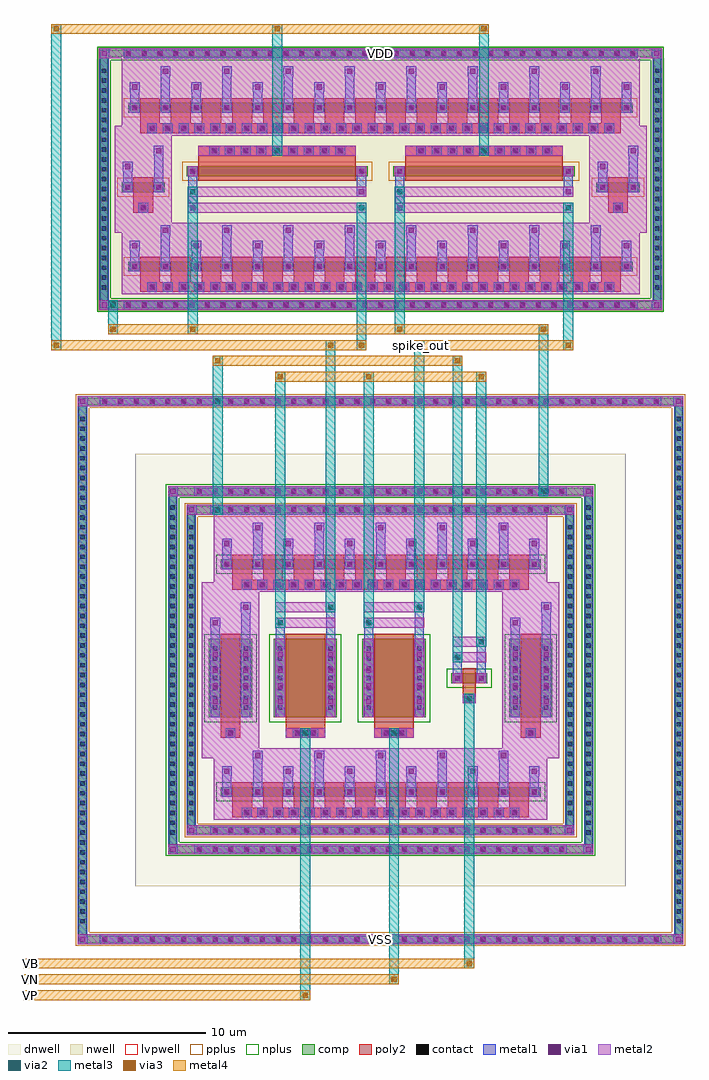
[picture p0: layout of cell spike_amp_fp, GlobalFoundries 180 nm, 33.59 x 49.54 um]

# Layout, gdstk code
import gdstk
lib = gdstk.Library(unit=1e-6, precision=5e-09)
def R(c, l, rs):  # rectangles x0, y0, x1, y1
    for r in rs: c.add(gdstk.rectangle(r[:2], r[2:], *l))
def A(c, l, x, y, w, h, nx, ny, dx, dy):  # array of equal rectangles
    R(c, l, [(x+i*dx, y+j*dy, x+i*dx+w, y+j*dy+h) for i in range(nx) for j in range(ny)])
def P(c, l, *ps):  # polygons
    for p in ps: c.add(gdstk.Polygon(p, *l))
dnwell = (12, 0)
nwell = (21, 0)
comp = (22, 0)
poly2 = (30, 0)
pplus = (31, 0)
nplus = (32, 0)
contact = (33, 0)
metal1 = (34, 0)
via1 = (35, 0)
metal2 = (36, 0)
via2 = (38, 0)
via3 = (40, 0)
metal3 = (42, 0)
metal4 = (46, 0)
lvpwell = (204, 0)

spike_amp_fp = lib.new_cell('spike_amp_fp')
R(spike_amp_fp, dnwell, [(-6.68,-10.975,18.22,10.975)])
R(spike_amp_fp, nwell, [(-8.57,18.235,20.11,31.605), (-7.38,19.075,18.92,22.705), (-7.73,23.105,-4.83,26.735), (-4.43,23.105,5.47,26.735), (6.07,23.105,15.97,26.735), (16.37,23.105,19.27,26.735), (-7.38,27.135,18.92,30.765)])
A(spike_amp_fp, comp, -8.41, -13.835, 0.36, 0.36, 36, 2, 0.8, 27.31)
A(spike_amp_fp, comp, -9.54, -12.93, 0.36, 0.36, 1, 52, 0, 0.5)
A(spike_amp_fp, comp, 20.72, -12.93, 0.36, 0.36, 1, 52, 0, 0.5)
A(spike_amp_fp, comp, -3.61, -9.265, 0.36, 0.36, 24, 2, 0.8, 18.17)
A(spike_amp_fp, comp, -4.97, -8.43, 0.36, 0.36, 1, 34, 0, 0.5)
A(spike_amp_fp, comp, 16.15, -8.43, 0.36, 0.36, 1, 34, 0, 0.5)
A(spike_amp_fp, comp, -2.81, -8.315, 0.36, 0.36, 22, 2, 0.8, 16.27)
A(spike_amp_fp, comp, -4.02, -7.43, 0.36, 0.36, 1, 30, 0, 0.5)
A(spike_amp_fp, comp, 15.2, -7.43, 0.36, 0.36, 1, 30, 0, 0.5)
A(spike_amp_fp, comp, -7.21, 18.355, 0.36, 0.36, 33, 2, 0.8, 12.77)
A(spike_amp_fp, comp, -8.45, 19.24, 0.36, 0.36, 1, 23, 0, 0.5)
A(spike_amp_fp, comp, 19.63, 19.24, 0.36, 0.36, 1, 23, 0, 0.5)
R(spike_amp_fp, comp, [(-8.41,-13.835,19.95,-13.475), (-9.54,-12.93,-9.18,12.93), (20.72,-12.93,21.08,12.93), (-3.61,-9.265,15.15,-8.905), (-4.97,-8.43,-4.61,8.43), (16.15,-8.43,16.51,8.43), (-2.81,-8.315,14.35,-7.955), (-4.02,-7.43,-3.66,7.43), (15.2,-7.43,15.56,7.43), (-2.35,-6.435,13.89,-5.935), (-2.95,-2.405,-0.75,1.595), (0.35,-2.405,3.55,1.595), (4.85,-2.405,8.05,1.595), (12.29,-2.405,14.49,1.595), (9.35,-0.655,11.19,-0.155), (-2.35,5.125,13.89,5.625), (-2.81,7.955,14.35,8.315), (-3.61,8.905,15.15,9.265), (-8.41,13.475,19.95,13.835), (-7.21,18.355,18.75,18.715), (-8.45,19.24,-8.09,30.6), (19.63,19.24,19.99,30.6), (-7.03,20.235,18.57,20.735), (-7.38,24.265,-5.18,24.765), (16.72,24.265,18.92,24.765), (-4.08,25.075,5.12,25.575), (6.42,25.075,15.62,25.575), (-7.03,28.295,18.57,28.795), (-7.21,31.125,18.75,31.485)])
P(spike_amp_fp, comp, [(19.99,31.485),(-8.45,31.485),(-8.45,18.715),(-8.09,18.715),(-8.09,31.125),(19.63,31.125),(19.63,18.715),(-8.09,18.715),(-8.45,18.715),(-8.45,18.355),(19.99,18.355)],
  [(15.56,8.315),(-4.02,8.315),(-4.02,-7.955),(-3.66,-7.955),(-3.66,7.955),(15.2,7.955),(15.2,-7.955),(-3.66,-7.955),(-4.02,-7.955),(-4.02,-8.315),(15.56,-8.315)],
  [(16.51,9.265),(-4.97,9.265),(-4.97,-8.905),(-4.61,-8.905),(-4.61,8.905),(16.15,8.905),(16.15,-8.905),(-4.61,-8.905),(-4.97,-8.905),(-4.97,-9.265),(16.51,-9.265)],
  [(21.08,13.835),(-9.54,13.835),(-9.54,-13.475),(-9.18,-13.475),(-9.18,13.475),(20.72,13.475),(20.72,-13.475),(-9.18,-13.475),(-9.54,-13.475),(-9.54,-13.835),(21.08,-13.835)])
A(spike_amp_fp, poly2, -1.21, -7.405, 0.36, 0.36, 18, 2, 0.8, 11.56)
A(spike_amp_fp, poly2, -1.75, -6.975, 1, 0.3, 10, 2, 1.56, 11.56)
A(spike_amp_fp, poly2, -1.75, -6.675, 1, 0.98, 10, 2, 1.56, 11.56)
A(spike_amp_fp, poly2, -6.01, 19.265, 0.36, 0.36, 30, 2, 0.8, 8.06)
A(spike_amp_fp, poly2, -6.43, 19.695, 1, 0.3, 16, 2, 1.56, 8.06)
A(spike_amp_fp, poly2, -6.43, 19.995, 1, 0.98, 16, 2, 1.56, 8.06)
A(spike_amp_fp, poly2, -2.86, 26.185, 0.36, 0.36, 9, 1, 0.8, 0)
A(spike_amp_fp, poly2, 7.64, 26.185, 0.36, 0.36, 9, 1, 0.8, 0)
R(spike_amp_fp, poly2, [(-1.75,-7.475,13.29,-6.975), (-2.35,-3.445,-1.35,-2.945), (0.95,-3.445,2.95,-2.945), (5.45,-3.445,7.45,-2.945), (12.89,-3.445,13.89,-2.945), (-2.03,-3.375,-1.67,-3.015), (1.37,-3.375,1.73,-3.015), (2.17,-3.375,2.53,-3.015), (5.87,-3.375,6.23,-3.015), (6.67,-3.375,7.03,-3.015), (13.21,-3.375,13.57,-3.015), (-2.35,-2.945,-1.35,-2.645), (0.95,-2.945,2.95,-2.645), (5.45,-2.945,7.45,-2.645), (12.89,-2.945,13.89,-2.645), (-2.35,-2.645,-1.35,1.835), (0.95,-2.645,2.95,1.835), (5.45,-2.645,7.45,1.835), (12.89,-2.645,13.89,1.835), (9.95,-1.695,10.59,-1.195), (10.09,-1.625,10.45,-1.265), (9.95,-1.195,10.59,-0.895), (9.95,-0.895,10.59,0.085), (-1.75,4.085,13.29,4.585), (-6.43,19.195,17.97,19.695), (-6.78,23.225,-5.78,23.725), (17.32,23.225,18.32,23.725), (-6.46,23.295,-6.1,23.655), (17.64,23.295,18,23.655), (-6.78,23.725,-5.78,24.025), (17.32,23.725,18.32,24.025), (-6.78,24.025,-5.78,25.005), (17.32,24.025,18.32,25.005), (-3.48,24.835,4.52,25.815), (7.02,24.835,15.02,25.815), (-3.48,25.815,4.52,26.115), (7.02,25.815,15.02,26.115), (-3.48,26.115,4.52,26.615), (7.02,26.115,15.02,26.615), (-6.43,27.255,17.97,27.755)])
R(spike_amp_fp, pplus, [(-7.26,20.005,18.8,20.965), (-7.61,24.035,-4.95,24.995), (16.49,24.035,19.15,24.995), (-4.31,24.845,5.35,25.805), (6.19,24.845,15.85,25.805), (-7.26,28.065,18.8,29.025)])
P(spike_amp_fp, pplus, [(15.72,8.475),(-4.18,8.475),(-4.18,-7.795),(-3.5,-7.795),(-3.5,7.795),(15.04,7.795),(15.04,-7.795),(-3.5,-7.795),(-4.18,-7.795),(-4.18,-8.475),(15.72,-8.475)],
  [(21.24,13.995),(-9.7,13.995),(-9.7,-13.315),(-9.02,-13.315),(-9.02,13.315),(20.56,13.315),(20.56,-13.315),(-9.02,-13.315),(-9.7,-13.315),(-9.7,-13.995),(21.24,-13.995)])
R(spike_amp_fp, nplus, [(-2.58,-6.665,14.12,-5.705), (-3.18,-2.635,-0.52,1.825), (0.12,-2.635,3.78,1.825), (4.62,-2.635,8.28,1.825), (12.06,-2.635,14.72,1.825), (9.12,-0.885,11.42,0.075), (-2.58,4.895,14.12,5.855)])
P(spike_amp_fp, nplus, [(20.15,31.645),(-8.61,31.645),(-8.61,18.875),(-7.93,18.875),(-7.93,30.965),(19.47,30.965),(19.47,18.875),(-7.93,18.875),(-8.61,18.875),(-8.61,18.195),(20.15,18.195)],
  [(16.67,9.425),(-5.13,9.425),(-5.13,-8.745),(-4.45,-8.745),(-4.45,8.745),(15.99,8.745),(15.99,-8.745),(-4.45,-8.745),(-5.13,-8.745),(-5.13,-9.425),(16.67,-9.425)])
A(spike_amp_fp, contact, -8.34, -13.765, 0.22, 0.22, 36, 2, 0.8, 27.31)
A(spike_amp_fp, contact, -9.47, -12.86, 0.22, 0.22, 1, 52, 0, 0.5)
A(spike_amp_fp, contact, 20.79, -12.86, 0.22, 0.22, 1, 52, 0, 0.5)
A(spike_amp_fp, contact, -3.54, -9.195, 0.22, 0.22, 24, 2, 0.8, 18.17)
A(spike_amp_fp, contact, -4.9, -8.36, 0.22, 0.22, 1, 34, 0, 0.5)
A(spike_amp_fp, contact, 16.22, -8.36, 0.22, 0.22, 1, 34, 0, 0.5)
A(spike_amp_fp, contact, -2.74, -8.245, 0.22, 0.22, 22, 2, 0.8, 16.27)
A(spike_amp_fp, contact, -3.95, -7.36, 0.22, 0.22, 1, 30, 0, 0.5)
A(spike_amp_fp, contact, 15.27, -7.36, 0.22, 0.22, 1, 30, 0, 0.5)
A(spike_amp_fp, contact, -1.14, -7.335, 0.22, 0.22, 18, 2, 0.8, 11.56)
A(spike_amp_fp, contact, -2.14, -6.295, 0.22, 0.22, 11, 2, 1.56, 11.56)
A(spike_amp_fp, contact, -2.74, -2.015, 0.22, 0.22, 1, 7, 0, 0.5)
A(spike_amp_fp, contact, -1.18, -2.015, 0.22, 0.22, 1, 7, 0, 0.5)
A(spike_amp_fp, contact, 0.56, -2.015, 0.22, 0.22, 1, 7, 0, 0.5)
A(spike_amp_fp, contact, 3.12, -2.015, 0.22, 0.22, 1, 7, 0, 0.5)
A(spike_amp_fp, contact, 5.06, -2.015, 0.22, 0.22, 1, 7, 0, 0.5)
A(spike_amp_fp, contact, 7.62, -2.015, 0.22, 0.22, 1, 7, 0, 0.5)
A(spike_amp_fp, contact, 12.5, -2.015, 0.22, 0.22, 1, 7, 0, 0.5)
A(spike_amp_fp, contact, 14.06, -2.015, 0.22, 0.22, 1, 7, 0, 0.5)
A(spike_amp_fp, contact, -7.14, 18.425, 0.22, 0.22, 33, 2, 0.8, 12.77)
A(spike_amp_fp, contact, -8.38, 19.31, 0.22, 0.22, 1, 23, 0, 0.5)
A(spike_amp_fp, contact, 19.7, 19.31, 0.22, 0.22, 1, 23, 0, 0.5)
A(spike_amp_fp, contact, -5.94, 19.335, 0.22, 0.22, 30, 2, 0.8, 8.06)
A(spike_amp_fp, contact, -6.82, 20.375, 0.22, 0.22, 17, 2, 1.56, 8.06)
A(spike_amp_fp, contact, -2.79, 26.255, 0.22, 0.22, 9, 1, 0.8, 0)
A(spike_amp_fp, contact, 7.71, 26.255, 0.22, 0.22, 9, 1, 0.8, 0)
R(spike_amp_fp, contact, [(-1.96,-3.305,-1.74,-3.085), (1.44,-3.305,1.66,-3.085), (2.24,-3.305,2.46,-3.085), (5.94,-3.305,6.16,-3.085), (6.74,-3.305,6.96,-3.085), (13.28,-3.305,13.5,-3.085), (10.16,-1.555,10.38,-1.335), (9.56,-0.515,9.78,-0.295), (10.76,-0.515,10.98,-0.295), (-6.39,23.365,-6.17,23.585), (17.71,23.365,17.93,23.585), (-7.17,24.405,-6.95,24.625), (-5.61,24.405,-5.39,24.625), (16.93,24.405,17.15,24.625), (18.49,24.405,18.71,24.625), (-3.87,25.215,-3.65,25.435), (4.69,25.215,4.91,25.435), (6.63,25.215,6.85,25.435), (15.19,25.215,15.41,25.435)])
A(spike_amp_fp, metal1, -8.48, -13.905, 0.5, 0.5, 36, 2, 0.8, 27.31)
A(spike_amp_fp, metal1, -9.59, -12.98, 0.46, 0.46, 1, 52, 0, 0.5)
A(spike_amp_fp, metal1, 20.67, -12.98, 0.46, 0.46, 1, 52, 0, 0.5)
A(spike_amp_fp, metal1, -3.68, -9.335, 0.5, 0.5, 24, 2, 0.8, 18.17)
A(spike_amp_fp, metal1, -5.02, -8.48, 0.46, 0.46, 1, 34, 0, 0.5)
A(spike_amp_fp, metal1, 16.1, -8.48, 0.46, 0.46, 1, 34, 0, 0.5)
A(spike_amp_fp, metal1, -2.88, -8.385, 0.5, 0.5, 22, 2, 0.8, 16.27)
A(spike_amp_fp, metal1, -4.07, -7.48, 0.46, 0.46, 1, 30, 0, 0.5)
A(spike_amp_fp, metal1, 15.15, -7.48, 0.46, 0.46, 1, 30, 0, 0.5)
A(spike_amp_fp, metal1, -1.28, -7.475, 0.5, 0.5, 18, 2, 0.8, 11.56)
A(spike_amp_fp, metal1, -2.26, -6.435, 0.46, 0.5, 11, 2, 1.56, 11.56)
A(spike_amp_fp, metal1, -2.26, -6.415, 0.46, 0.46, 11, 2, 1.56, 11.56)
A(spike_amp_fp, metal1, -2.26, -5.935, 0.46, 1.05, 6, 2, 3.12, 11.56)
A(spike_amp_fp, metal1, -0.7, -5.935, 0.46, 1.85, 5, 2, 3.12, 11.56)
A(spike_amp_fp, metal1, -2.28, -5.385, 0.5, 0.5, 6, 2, 3.12, 11.56)
A(spike_amp_fp, metal1, -0.72, -4.585, 0.5, 0.5, 5, 2, 3.12, 11.56)
A(spike_amp_fp, metal1, -2.86, -2.135, 0.46, 0.46, 1, 7, 0, 0.5)
A(spike_amp_fp, metal1, -1.3, -2.135, 0.46, 0.46, 1, 7, 0, 0.5)
A(spike_amp_fp, metal1, 0.44, -2.135, 0.46, 0.46, 1, 7, 0, 0.5)
A(spike_amp_fp, metal1, 3, -2.135, 0.46, 0.46, 1, 7, 0, 0.5)
A(spike_amp_fp, metal1, 4.94, -2.135, 0.46, 0.46, 1, 7, 0, 0.5)
A(spike_amp_fp, metal1, 7.5, -2.135, 0.46, 0.46, 1, 7, 0, 0.5)
A(spike_amp_fp, metal1, 12.38, -2.135, 0.46, 0.46, 1, 7, 0, 0.5)
A(spike_amp_fp, metal1, 13.94, -2.135, 0.46, 0.46, 1, 7, 0, 0.5)
A(spike_amp_fp, metal1, -2.88, -1.855, 0.5, 0.5, 1, 4, 0, 0.8)
A(spike_amp_fp, metal1, -1.32, -1.855, 0.5, 0.5, 1, 4, 0, 0.8)
A(spike_amp_fp, metal1, 0.42, -1.855, 0.5, 0.5, 1, 4, 0, 0.8)
A(spike_amp_fp, metal1, 2.98, -1.855, 0.5, 0.5, 1, 4, 0, 0.8)
A(spike_amp_fp, metal1, 4.92, -1.855, 0.5, 0.5, 1, 4, 0, 0.8)
A(spike_amp_fp, metal1, 7.48, -1.855, 0.5, 0.5, 1, 4, 0, 0.8)
A(spike_amp_fp, metal1, 12.36, -1.855, 0.5, 0.5, 1, 4, 0, 0.8)
A(spike_amp_fp, metal1, 13.92, -1.855, 0.5, 0.5, 1, 4, 0, 0.8)
A(spike_amp_fp, metal1, -7.28, 18.285, 0.5, 0.5, 33, 2, 0.8, 12.77)
A(spike_amp_fp, metal1, -8.5, 19.19, 0.46, 0.46, 1, 23, 0, 0.5)
A(spike_amp_fp, metal1, 19.58, 19.19, 0.46, 0.46, 1, 23, 0, 0.5)
A(spike_amp_fp, metal1, -6.08, 19.195, 0.5, 0.5, 30, 2, 0.8, 8.06)
A(spike_amp_fp, metal1, -6.94, 20.235, 0.46, 0.5, 17, 2, 1.56, 8.06)
A(spike_amp_fp, metal1, -6.94, 20.255, 0.46, 0.46, 17, 2, 1.56, 8.06)
A(spike_amp_fp, metal1, -6.94, 20.735, 0.46, 1.05, 9, 2, 3.12, 8.06)
A(spike_amp_fp, metal1, -5.38, 20.735, 0.46, 1.85, 8, 2, 3.12, 8.06)
A(spike_amp_fp, metal1, -6.96, 21.285, 0.5, 0.5, 9, 2, 3.12, 8.06)
A(spike_amp_fp, metal1, -5.4, 22.085, 0.5, 0.5, 8, 2, 3.12, 8.06)
A(spike_amp_fp, metal1, -2.93, 26.115, 0.5, 0.5, 9, 1, 0.8, 0)
A(spike_amp_fp, metal1, 7.57, 26.115, 0.5, 0.5, 9, 1, 0.8, 0)
R(spike_amp_fp, metal1, [(-9.59,-13.905,-9.09,-13.405), (-9.59,-13.905,-9.09,-13.405), (-9.59,-13.905,-9.13,-13.475), (-8.48,-13.905,20.02,-13.405), (20.63,-13.905,21.13,-13.405), (20.63,-13.905,21.13,-13.405), (20.67,-13.905,21.13,-13.475), (-9.59,-13.475,-9.13,13.475), (20.67,-13.475,21.13,13.475), (-5.02,-9.335,-4.52,-8.835), (-5.02,-9.335,-4.52,-8.835), (-5.02,-9.335,-4.56,-8.905), (-3.68,-9.335,15.22,-8.835), (16.06,-9.335,16.56,-8.835), (16.06,-9.335,16.56,-8.835), (16.1,-9.335,16.56,-8.905), (-5.02,-8.905,-4.56,8.905), (16.1,-8.905,16.56,8.905), (-4.07,-8.385,-3.57,-7.885), (-4.07,-8.385,-3.57,-7.885), (-4.07,-8.385,-3.61,-7.955), (-2.88,-8.385,14.42,-7.885), (15.11,-8.385,15.61,-7.885), (15.11,-8.385,15.61,-7.885), (15.15,-8.385,15.61,-7.955), (-4.07,-7.955,-3.61,7.955), (15.15,-7.955,15.61,7.955), (-2.28,-6.435,-1.78,-5.935), (-2.28,-6.435,-1.78,-5.935), (-0.72,-6.435,-0.22,-5.935), (-0.72,-6.435,-0.22,-5.935), (0.84,-6.435,1.34,-5.935), (0.84,-6.435,1.34,-5.935), (2.4,-6.435,2.9,-5.935), (2.4,-6.435,2.9,-5.935), (3.96,-6.435,4.46,-5.935), (3.96,-6.435,4.46,-5.935), (5.52,-6.435,6.02,-5.935), (5.52,-6.435,6.02,-5.935), (7.08,-6.435,7.58,-5.935), (7.08,-6.435,7.58,-5.935), (8.64,-6.435,9.14,-5.935), (8.64,-6.435,9.14,-5.935), (10.2,-6.435,10.7,-5.935), (10.2,-6.435,10.7,-5.935), (11.76,-6.435,12.26,-5.935), (11.76,-6.435,12.26,-5.935), (13.32,-6.435,13.82,-5.935), (13.32,-6.435,13.82,-5.935), (-2.1,-3.445,-1.6,-2.945), (1.3,-3.445,1.8,-2.945), (2.1,-3.445,2.6,-2.945), (5.8,-3.445,6.3,-2.945), (6.6,-3.445,7.1,-2.945), (13.14,-3.445,13.64,-2.945), (-2.86,-2.405,-2.4,1.595), (-1.3,-2.405,-0.84,1.595), (0.44,-2.405,0.9,1.595), (3,-2.405,3.46,1.595), (4.94,-2.405,5.4,1.595), (7.5,-2.405,7.96,1.595), (12.38,-2.405,12.84,1.595), (13.94,-2.405,14.4,1.595), (-2.88,-1.855,-2.38,1.045), (-1.32,-1.855,-0.82,1.045), (0.42,-1.855,0.92,1.045), (2.98,-1.855,3.48,1.045), (4.92,-1.855,5.42,1.045), (7.48,-1.855,7.98,1.045), (12.36,-1.855,12.86,1.045), (13.92,-1.855,14.42,1.045), (10.02,-1.695,10.52,-1.195), (9.42,-0.655,9.92,-0.155), (9.42,-0.655,9.92,-0.155), (9.44,-0.655,9.9,-0.155), (10.62,-0.655,11.12,-0.155), (10.62,-0.655,11.12,-0.155), (10.64,-0.655,11.1,-0.155), (9.44,-0.635,9.9,-0.175), (10.64,-0.635,11.1,-0.175), (9.44,-0.155,9.9,0.895), (10.64,-0.155,11.1,1.695), (9.42,0.395,9.92,0.895), (10.62,1.195,11.12,1.695), (-2.86,1.595,-2.4,2.645), (-1.3,1.595,-0.84,3.445), (0.44,1.595,0.9,2.645), (3,1.595,3.46,3.445), (4.94,1.595,5.4,2.645), (7.5,1.595,7.96,3.445), (12.38,1.595,12.84,2.645), (13.94,1.595,14.4,3.445), (-2.88,2.145,-2.38,2.645), (0.42,2.145,0.92,2.645), (4.92,2.145,5.42,2.645), (12.36,2.145,12.86,2.645), (-1.32,2.945,-0.82,3.445), (2.98,2.945,3.48,3.445), (7.48,2.945,7.98,3.445), (13.92,2.945,14.42,3.445), (-2.28,5.125,-1.78,5.625), (-2.28,5.125,-1.78,5.625), (-0.72,5.125,-0.22,5.625), (-0.72,5.125,-0.22,5.625), (0.84,5.125,1.34,5.625), (0.84,5.125,1.34,5.625), (2.4,5.125,2.9,5.625), (2.4,5.125,2.9,5.625), (3.96,5.125,4.46,5.625), (3.96,5.125,4.46,5.625), (5.52,5.125,6.02,5.625), (5.52,5.125,6.02,5.625), (7.08,5.125,7.58,5.625), (7.08,5.125,7.58,5.625), (8.64,5.125,9.14,5.625), (8.64,5.125,9.14,5.625), (10.2,5.125,10.7,5.625), (10.2,5.125,10.7,5.625), (11.76,5.125,12.26,5.625), (11.76,5.125,12.26,5.625), (13.32,5.125,13.82,5.625), (13.32,5.125,13.82,5.625), (-4.07,7.885,-3.57,8.385), (-4.07,7.885,-3.57,8.385), (-2.88,7.885,14.42,8.385), (15.11,7.885,15.61,8.385), (15.11,7.885,15.61,8.385), (-4.07,7.955,-3.61,8.385), (15.15,7.955,15.61,8.385), (-5.02,8.835,-4.52,9.335), (-5.02,8.835,-4.52,9.335), (-3.68,8.835,15.22,9.335), (16.06,8.835,16.56,9.335), (16.06,8.835,16.56,9.335), (-5.02,8.905,-4.56,9.335), (16.1,8.905,16.56,9.335), (-9.59,13.405,-9.09,13.905), (-9.59,13.405,-9.09,13.905), (-8.48,13.405,20.02,13.905), (20.63,13.405,21.13,13.905), (20.63,13.405,21.13,13.905), (-9.59,13.475,-9.13,13.905), (20.67,13.475,21.13,13.905), (-8.5,18.285,-8,18.785), (-8.5,18.285,-8,18.785), (-8.5,18.285,-8.04,18.715), (-7.28,18.285,18.82,18.785), (19.54,18.285,20.04,18.785), (19.54,18.285,20.04,18.785), (19.58,18.285,20.04,18.715), (-8.5,18.715,-8.04,31.125), (19.58,18.715,20.04,31.125), (-6.96,20.235,-6.46,20.735), (-6.96,20.235,-6.46,20.735), (-5.4,20.235,-4.9,20.735), (-5.4,20.235,-4.9,20.735), (-3.84,20.235,-3.34,20.735), (-3.84,20.235,-3.34,20.735), (-2.28,20.235,-1.78,20.735), (-2.28,20.235,-1.78,20.735), (-0.72,20.235,-0.22,20.735), (-0.72,20.235,-0.22,20.735), (0.84,20.235,1.34,20.735), (0.84,20.235,1.34,20.735), (2.4,20.235,2.9,20.735), (2.4,20.235,2.9,20.735), (3.96,20.235,4.46,20.735), (3.96,20.235,4.46,20.735), (5.52,20.235,6.02,20.735), (5.52,20.235,6.02,20.735), (7.08,20.235,7.58,20.735), (7.08,20.235,7.58,20.735), (8.64,20.235,9.14,20.735), (8.64,20.235,9.14,20.735), (10.2,20.235,10.7,20.735), (10.2,20.235,10.7,20.735), (11.76,20.235,12.26,20.735), (11.76,20.235,12.26,20.735), (13.32,20.235,13.82,20.735), (13.32,20.235,13.82,20.735), (14.88,20.235,15.38,20.735), (14.88,20.235,15.38,20.735), (16.44,20.235,16.94,20.735), (16.44,20.235,16.94,20.735), (18,20.235,18.5,20.735), (18,20.235,18.5,20.735), (-6.53,23.225,-6.03,23.725), (-4.01,23.225,-3.51,23.725), (-3.99,23.225,-3.53,25.075), (6.49,23.225,6.99,23.725), (6.51,23.225,6.97,25.075), (17.57,23.225,18.07,23.725), (4.55,24.025,5.05,24.525), (4.57,24.025,5.03,25.075), (15.05,24.025,15.55,24.525), (15.07,24.025,15.53,25.075), (-7.31,24.265,-6.81,24.765), (-7.31,24.265,-6.81,24.765), (-7.29,24.265,-6.83,24.765), (-5.75,24.265,-5.25,24.765), (-5.75,24.265,-5.25,24.765), (-5.73,24.265,-5.27,24.765), (16.79,24.265,17.29,24.765), (16.79,24.265,17.29,24.765), (16.81,24.265,17.27,24.765), (18.35,24.265,18.85,24.765), (18.35,24.265,18.85,24.765), (18.37,24.265,18.83,24.765), (-7.29,24.285,-6.83,24.745), (-5.73,24.285,-5.27,24.745), (16.81,24.285,17.27,24.745), (18.37,24.285,18.83,24.745), (-7.29,24.765,-6.83,25.815), (-5.73,24.765,-5.27,26.615), (16.81,24.765,17.27,25.815), (18.37,24.765,18.83,26.615), (-4.01,25.075,-3.51,25.575), (-4.01,25.075,-3.51,25.575), (-3.99,25.075,-3.53,25.575), (4.55,25.075,5.05,25.575), (4.55,25.075,5.05,25.575), (4.57,25.075,5.03,25.575), (6.49,25.075,6.99,25.575), (6.49,25.075,6.99,25.575), (6.51,25.075,6.97,25.575), (15.05,25.075,15.55,25.575), (15.05,25.075,15.55,25.575), (15.07,25.075,15.53,25.575), (-3.99,25.095,-3.53,25.555), (4.57,25.095,5.03,25.555), (6.51,25.095,6.97,25.555), (15.07,25.095,15.53,25.555), (-7.31,25.315,-6.81,25.815), (16.79,25.315,17.29,25.815), (-5.75,26.115,-5.25,26.615), (18.35,26.115,18.85,26.615), (-6.96,28.295,-6.46,28.795), (-6.96,28.295,-6.46,28.795), (-5.4,28.295,-4.9,28.795), (-5.4,28.295,-4.9,28.795), (-3.84,28.295,-3.34,28.795), (-3.84,28.295,-3.34,28.795), (-2.28,28.295,-1.78,28.795), (-2.28,28.295,-1.78,28.795), (-0.72,28.295,-0.22,28.795), (-0.72,28.295,-0.22,28.795), (0.84,28.295,1.34,28.795), (0.84,28.295,1.34,28.795), (2.4,28.295,2.9,28.795), (2.4,28.295,2.9,28.795), (3.96,28.295,4.46,28.795), (3.96,28.295,4.46,28.795), (5.52,28.295,6.02,28.795), (5.52,28.295,6.02,28.795), (7.08,28.295,7.58,28.795), (7.08,28.295,7.58,28.795), (8.64,28.295,9.14,28.795), (8.64,28.295,9.14,28.795), (10.2,28.295,10.7,28.795), (10.2,28.295,10.7,28.795), (11.76,28.295,12.26,28.795), (11.76,28.295,12.26,28.795), (13.32,28.295,13.82,28.795), (13.32,28.295,13.82,28.795), (14.88,28.295,15.38,28.795), (14.88,28.295,15.38,28.795), (16.44,28.295,16.94,28.795), (16.44,28.295,16.94,28.795), (18,28.295,18.5,28.795), (18,28.295,18.5,28.795), (-8.5,31.055,-8,31.555), (-8.5,31.055,-8,31.555), (-7.28,31.055,18.82,31.555), (19.54,31.055,20.04,31.555), (19.54,31.055,20.04,31.555), (-8.5,31.125,-8.04,31.555), (19.58,31.125,20.04,31.555)])
A(spike_amp_fp, via1, -8.36, -13.785, 0.26, 0.26, 36, 2, 0.8, 27.31)
A(spike_amp_fp, via1, -3.56, -9.215, 0.26, 0.26, 24, 2, 0.8, 18.17)
A(spike_amp_fp, via1, -2.76, -8.265, 0.26, 0.26, 22, 2, 0.8, 16.27)
A(spike_amp_fp, via1, -1.16, -7.355, 0.26, 0.26, 18, 2, 0.8, 11.56)
A(spike_amp_fp, via1, -2.16, -6.315, 0.26, 0.26, 11, 2, 1.56, 11.56)
A(spike_amp_fp, via1, -2.16, -5.265, 0.26, 0.26, 6, 2, 3.12, 11.56)
A(spike_amp_fp, via1, -0.6, -4.465, 0.26, 0.26, 5, 2, 3.12, 11.56)
A(spike_amp_fp, via1, -2.76, -1.735, 0.26, 0.26, 1, 4, 0, 0.8)
A(spike_amp_fp, via1, -1.2, -1.735, 0.26, 0.26, 1, 4, 0, 0.8)
A(spike_amp_fp, via1, 0.54, -1.735, 0.26, 0.26, 1, 4, 0, 0.8)
A(spike_amp_fp, via1, 3.1, -1.735, 0.26, 0.26, 1, 4, 0, 0.8)
A(spike_amp_fp, via1, 5.04, -1.735, 0.26, 0.26, 1, 4, 0, 0.8)
A(spike_amp_fp, via1, 7.6, -1.735, 0.26, 0.26, 1, 4, 0, 0.8)
A(spike_amp_fp, via1, 12.48, -1.735, 0.26, 0.26, 1, 4, 0, 0.8)
A(spike_amp_fp, via1, 14.04, -1.735, 0.26, 0.26, 1, 4, 0, 0.8)
A(spike_amp_fp, via1, -7.16, 18.405, 0.26, 0.26, 33, 2, 0.8, 12.77)
A(spike_amp_fp, via1, -5.96, 19.315, 0.26, 0.26, 30, 2, 0.8, 8.06)
A(spike_amp_fp, via1, -6.84, 20.355, 0.26, 0.26, 17, 2, 1.56, 8.06)
A(spike_amp_fp, via1, -6.84, 21.405, 0.26, 0.26, 9, 2, 3.12, 8.06)
A(spike_amp_fp, via1, -5.28, 22.205, 0.26, 0.26, 8, 2, 3.12, 8.06)
A(spike_amp_fp, via1, -2.81, 26.235, 0.26, 0.26, 9, 1, 0.8, 0)
A(spike_amp_fp, via1, 7.69, 26.235, 0.26, 0.26, 9, 1, 0.8, 0)
R(spike_amp_fp, via1, [(-9.47,-13.785,-9.21,-13.525), (20.75,-13.785,21.01,-13.525), (-4.9,-9.215,-4.64,-8.955), (16.18,-9.215,16.44,-8.955), (-3.95,-8.265,-3.69,-8.005), (15.23,-8.265,15.49,-8.005), (-1.98,-3.325,-1.72,-3.065), (1.42,-3.325,1.68,-3.065), (2.22,-3.325,2.48,-3.065), (5.92,-3.325,6.18,-3.065), (6.72,-3.325,6.98,-3.065), (13.26,-3.325,13.52,-3.065), (10.14,-1.575,10.4,-1.315), (9.54,-0.535,9.8,-0.275), (10.74,-0.535,11,-0.275), (9.54,0.515,9.8,0.775), (10.74,1.315,11,1.575), (-2.76,2.265,-2.5,2.525), (0.54,2.265,0.8,2.525), (5.04,2.265,5.3,2.525), (12.48,2.265,12.74,2.525), (-1.2,3.065,-0.94,3.325), (3.1,3.065,3.36,3.325), (7.6,3.065,7.86,3.325), (14.04,3.065,14.3,3.325), (-3.95,8.005,-3.69,8.265), (15.23,8.005,15.49,8.265), (-4.9,8.955,-4.64,9.215), (16.18,8.955,16.44,9.215), (-9.47,13.525,-9.21,13.785), (20.75,13.525,21.01,13.785), (-8.38,18.405,-8.12,18.665), (19.66,18.405,19.92,18.665), (-6.41,23.345,-6.15,23.605), (-3.89,23.345,-3.63,23.605), (6.61,23.345,6.87,23.605), (17.69,23.345,17.95,23.605), (4.67,24.145,4.93,24.405), (15.17,24.145,15.43,24.405), (-7.19,24.385,-6.93,24.645), (-5.63,24.385,-5.37,24.645), (16.91,24.385,17.17,24.645), (18.47,24.385,18.73,24.645), (-3.89,25.195,-3.63,25.455), (4.67,25.195,4.93,25.455), (6.61,25.195,6.87,25.455), (15.17,25.195,15.43,25.455), (-7.19,25.435,-6.93,25.695), (16.91,25.435,17.17,25.695), (-5.63,26.235,-5.37,26.495), (18.47,26.235,18.73,26.495), (-8.38,31.175,-8.12,31.435), (19.66,31.175,19.92,31.435)])
A(spike_amp_fp, metal2, -8.48, -13.905, 0.5, 0.5, 36, 1, 0.8, 0)
A(spike_amp_fp, metal2, -3.68, -9.335, 0.5, 0.5, 24, 1, 0.8, 0)
A(spike_amp_fp, metal2, -2.88, -8.385, 0.5, 0.5, 22, 1, 0.8, 0)
A(spike_amp_fp, metal2, -1.28, -7.475, 0.5, 0.5, 18, 2, 0.8, 11.56)
A(spike_amp_fp, metal2, -2.28, -5.385, 0.5, 0.5, 6, 2, 3.12, 11.56)
A(spike_amp_fp, metal2, -0.72, -4.585, 0.5, 0.5, 5, 2, 3.12, 11.56)
A(spike_amp_fp, metal2, 1.3, -3.445, 0.5, 0.5, 3, 1, 0.4, 0)
A(spike_amp_fp, metal2, 5.8, -3.445, 0.5, 0.5, 3, 1, 0.4, 0)
A(spike_amp_fp, metal2, -2.88, -1.855, 0.5, 0.5, 1, 4, 0, 0.8)
A(spike_amp_fp, metal2, -1.32, -1.855, 0.5, 0.5, 1, 4, 0, 0.8)
A(spike_amp_fp, metal2, 0.42, -1.855, 0.5, 0.5, 1, 4, 0, 0.8)
A(spike_amp_fp, metal2, 2.98, -1.855, 0.5, 0.5, 1, 4, 0, 0.8)
A(spike_amp_fp, metal2, 4.92, -1.855, 0.5, 0.5, 1, 4, 0, 0.8)
A(spike_amp_fp, metal2, 7.48, -1.855, 0.5, 0.5, 1, 4, 0, 0.8)
A(spike_amp_fp, metal2, 12.36, -1.855, 0.5, 0.5, 1, 4, 0, 0.8)
A(spike_amp_fp, metal2, 13.92, -1.855, 0.5, 0.5, 1, 4, 0, 0.8)
A(spike_amp_fp, metal2, -2.08, 7.885, 0.5, 0.5, 21, 1, 0.8, 0)
A(spike_amp_fp, metal2, -3.68, 8.835, 0.5, 0.5, 22, 1, 0.8, 0)
A(spike_amp_fp, metal2, -8.48, 13.405, 0.5, 0.5, 8, 1, 0.8, 0)
A(spike_amp_fp, metal2, -2.08, 13.405, 0.5, 0.5, 28, 1, 0.8, 0)
A(spike_amp_fp, metal2, -7.28, 18.285, 0.5, 0.5, 33, 2, 0.8, 12.77)
A(spike_amp_fp, metal2, -6.08, 19.195, 0.5, 0.5, 30, 2, 0.8, 8.06)
A(spike_amp_fp, metal2, -6.96, 21.285, 0.5, 0.5, 9, 2, 3.12, 8.06)
A(spike_amp_fp, metal2, -5.4, 22.085, 0.5, 0.5, 8, 2, 3.12, 8.06)
A(spike_amp_fp, metal2, -2.93, 26.115, 0.5, 0.5, 5, 1, 0.8, 0)
A(spike_amp_fp, metal2, 0.27, 26.115, 0.5, 0.5, 5, 1, 0.8, 0)
A(spike_amp_fp, metal2, 7.57, 26.115, 0.5, 0.5, 5, 1, 0.8, 0)
A(spike_amp_fp, metal2, 10.77, 26.115, 0.5, 0.5, 5, 1, 0.8, 0)
R(spike_amp_fp, metal2, [(-9.59,-13.905,-9.09,-13.405), (-9.59,-13.905,-9.09,-13.405), (-9.59,-13.905,-9.18,-13.405), (-9.18,-13.905,20.72,-13.405), (20.63,-13.905,21.13,-13.405), (20.63,-13.905,21.13,-13.405), (20.72,-13.905,21.13,-13.405), (-5.02,-9.335,-4.52,-8.835), (-5.02,-9.335,-4.52,-8.835), (-5.02,-9.335,-4.61,-8.835), (-4.61,-9.335,16.15,-8.835), (16.06,-9.335,16.56,-8.835), (16.06,-9.335,16.56,-8.835), (16.15,-9.335,16.56,-8.835), (-4.07,-8.385,-3.57,-7.885), (-4.07,-8.385,-3.57,-7.885), (-4.07,-8.385,-3.66,-7.885), (-3.66,-8.385,15.2,-7.885), (15.11,-8.385,15.61,-7.885), (15.11,-8.385,15.61,-7.885), (15.2,-8.385,15.61,-7.885), (-2.7,-7.595,14.24,-3.965), (-1.75,-7.475,13.29,-6.975), (-2.28,-6.435,-1.78,-5.935), (-2.28,-6.435,-1.78,-5.935), (-0.72,-6.435,-0.22,-5.935), (-0.72,-6.435,-0.22,-5.935), (0.84,-6.435,1.34,-5.935), (0.84,-6.435,1.34,-5.935), (2.4,-6.435,2.9,-5.935), (2.4,-6.435,2.9,-5.935), (3.96,-6.435,4.46,-5.935), (3.96,-6.435,4.46,-5.935), (5.52,-6.435,6.02,-5.935), (5.52,-6.435,6.02,-5.935), (7.08,-6.435,7.58,-5.935), (7.08,-6.435,7.58,-5.935), (8.64,-6.435,9.14,-5.935), (8.64,-6.435,9.14,-5.935), (10.2,-6.435,10.7,-5.935), (10.2,-6.435,10.7,-5.935), (11.76,-6.435,12.26,-5.935), (11.76,-6.435,12.26,-5.935), (13.32,-6.435,13.82,-5.935), (13.32,-6.435,13.82,-5.935), (-2.28,-5.385,13.82,-4.885), (-2.28,-4.585,13.82,-4.085), (-3.3,-4.465,-0.4,4.465), (11.94,-4.465,14.84,4.465), (-2.35,-3.445,-1.35,-2.945), (-2.1,-3.445,-1.6,-2.945), (0.95,-3.445,2.95,-2.945), (5.45,-3.445,7.45,-2.945), (12.89,-3.445,13.89,-2.945), (13.14,-3.445,13.64,-2.945), (-2.88,-2.405,-2.38,1.595), (-1.32,-2.405,-0.82,1.595), (0.42,-2.405,0.92,1.595), (2.98,-2.405,3.48,1.595), (4.92,-2.405,5.42,1.595), (7.48,-2.405,7.98,1.595), (12.36,-2.405,12.86,1.595), (13.92,-2.405,14.42,1.595), (9.95,-1.695,10.59,-1.195), (10.02,-1.695,10.52,-1.195), (10.02,-1.695,10.52,-1.195), (9.42,-0.655,9.92,-0.155), (9.42,-0.655,9.92,-0.155), (10.62,-0.655,11.12,-0.155), (10.62,-0.655,11.12,-0.155), (9.42,0.395,9.92,0.895), (9.42,0.395,9.92,0.895), (9.42,0.395,11.12,0.895), (9.42,1.195,11.12,1.695), (10.62,1.195,11.12,1.695), (10.62,1.195,11.12,1.695), (-2.88,2.145,-2.38,2.645), (-2.88,2.145,-0.82,2.645), (0.42,2.145,0.92,2.645), (0.42,2.145,0.92,2.645), (0.42,2.145,3.48,2.645), (4.92,2.145,5.42,2.645), (4.92,2.145,5.42,2.645), (4.92,2.145,7.98,2.645), (12.36,2.145,12.86,2.645), (12.36,2.145,14.42,2.645), (-2.88,2.945,-0.82,3.445), (-1.32,2.945,-0.82,3.445), (0.42,2.945,3.48,3.445), (2.98,2.945,3.48,3.445), (2.98,2.945,3.48,3.445), (4.92,2.945,7.98,3.445), (7.48,2.945,7.98,3.445), (7.48,2.945,7.98,3.445), (12.36,2.945,14.42,3.445), (13.92,2.945,14.42,3.445), (-2.7,3.965,14.24,7.595), (-1.75,4.085,13.29,4.585), (-2.28,5.125,-1.78,5.625), (-2.28,5.125,-1.78,5.625), (-0.72,5.125,-0.22,5.625), (-0.72,5.125,-0.22,5.625), (0.84,5.125,1.34,5.625), (0.84,5.125,1.34,5.625), (2.4,5.125,2.9,5.625), (2.4,5.125,2.9,5.625), (3.96,5.125,4.46,5.625), (3.96,5.125,4.46,5.625), (5.52,5.125,6.02,5.625), (5.52,5.125,6.02,5.625), (7.08,5.125,7.58,5.625), (7.08,5.125,7.58,5.625), (8.64,5.125,9.14,5.625), (8.64,5.125,9.14,5.625), (10.2,5.125,10.7,5.625), (10.2,5.125,10.7,5.625), (11.76,5.125,12.26,5.625), (11.76,5.125,12.26,5.625), (13.32,5.125,13.82,5.625), (13.32,5.125,13.82,5.625), (-2.28,6.175,13.82,6.675), (-2.28,6.975,13.82,7.475), (-2.7,7.595,14.24,7.885), (-4.07,7.885,-3.57,8.385), (-4.07,7.885,-3.57,8.385), (-4.07,7.885,-3.66,8.385), (-3.66,7.885,15.2,8.385), (-2.88,7.885,-2.38,8.385), (-2.75,7.885,-2.25,8.385), (15.11,7.885,15.61,8.385), (15.11,7.885,15.61,8.385), (15.2,7.885,15.61,8.385), (-5.02,8.835,-4.52,9.335), (-5.02,8.835,-4.52,9.335), (-5.02,8.835,-4.61,9.335), (-4.61,8.835,16.15,9.335), (13.79,8.835,14.29,9.335), (13.92,8.835,14.42,9.335), (14.72,8.835,15.22,9.335), (16.06,8.835,16.56,9.335), (16.06,8.835,16.56,9.335), (16.15,8.835,16.56,9.335), (-9.59,13.405,-9.09,13.905), (-9.59,13.405,-9.09,13.905), (-9.59,13.405,-9.18,13.905), (-9.18,13.405,20.72,13.905), (-2.75,13.405,-2.25,13.905), (20.63,13.405,21.13,13.905), (20.63,13.405,21.13,13.905), (20.72,13.405,21.13,13.905), (-8.5,18.285,-8,18.785), (-8.5,18.285,-8,18.785), (-8.5,18.285,-8.09,18.785), (-8.09,18.285,19.63,18.785), (-8.06,18.285,-7.56,18.785), (19.54,18.285,20.04,18.785), (19.54,18.285,20.04,18.785), (19.63,18.285,20.04,18.785), (-7.38,19.075,18.92,22.705), (-6.43,19.195,17.97,19.695), (-6.96,20.235,-6.46,20.735), (-6.96,20.235,-6.46,20.735), (-5.4,20.235,-4.9,20.735), (-5.4,20.235,-4.9,20.735), (-3.84,20.235,-3.34,20.735), (-3.84,20.235,-3.34,20.735), (-2.28,20.235,-1.78,20.735), (-2.28,20.235,-1.78,20.735), (-0.72,20.235,-0.22,20.735), (-0.72,20.235,-0.22,20.735), (0.84,20.235,1.34,20.735), (0.84,20.235,1.34,20.735), (2.4,20.235,2.9,20.735), (2.4,20.235,2.9,20.735), (3.96,20.235,4.46,20.735), (3.96,20.235,4.46,20.735), (5.52,20.235,6.02,20.735), (5.52,20.235,6.02,20.735), (7.08,20.235,7.58,20.735), (7.08,20.235,7.58,20.735), (8.64,20.235,9.14,20.735), (8.64,20.235,9.14,20.735), (10.2,20.235,10.7,20.735), (10.2,20.235,10.7,20.735), (11.76,20.235,12.26,20.735), (11.76,20.235,12.26,20.735), (13.32,20.235,13.82,20.735), (13.32,20.235,13.82,20.735), (14.88,20.235,15.38,20.735), (14.88,20.235,15.38,20.735), (16.44,20.235,16.94,20.735), (16.44,20.235,16.94,20.735), (18,20.235,18.5,20.735), (18,20.235,18.5,20.735), (-6.96,21.285,18.5,21.785), (-6.96,22.085,18.5,22.585), (-7.73,22.205,-4.83,27.635), (16.37,22.205,19.27,27.635), (-6.78,23.225,-5.78,23.725), (-6.53,23.225,-6.03,23.725), (-4.01,23.225,-3.51,23.725), (-4.01,23.225,5.05,23.725), (4.55,23.225,5.05,23.725), (6.49,23.225,6.99,23.725), (6.49,23.225,15.55,23.725), (15.05,23.225,15.55,23.725), (17.32,23.225,18.32,23.725), (17.57,23.225,18.07,23.725), (-4.01,24.025,-3.51,24.525), (-4.01,24.025,5.05,24.525), (4.55,24.025,5.05,24.525), (6.49,24.025,6.99,24.525), (6.49,24.025,15.55,24.525), (15.05,24.025,15.55,24.525), (-7.31,24.265,-6.81,24.765), (-7.31,24.265,-6.81,24.765), (-5.75,24.265,-5.25,24.765), (-5.75,24.265,-5.25,24.765), (16.79,24.265,17.29,24.765), (16.79,24.265,17.29,24.765), (18.35,24.265,18.85,24.765), (18.35,24.265,18.85,24.765), (-4.01,25.075,-3.51,25.575), (-4.01,25.075,-3.51,25.575), (4.55,25.075,5.05,25.575), (4.55,25.075,5.05,25.575), (6.49,25.075,6.99,25.575), (6.49,25.075,6.99,25.575), (15.05,25.075,15.55,25.575), (15.05,25.075,15.55,25.575), (-7.31,25.315,-6.81,25.815), (-7.31,25.315,-5.25,25.815), (16.79,25.315,17.29,25.815), (16.79,25.315,18.85,25.815), (-7.31,26.115,-5.25,26.615), (-5.75,26.115,-5.25,26.615), (-3.48,26.115,4.52,26.615), (7.02,26.115,15.02,26.615), (16.79,26.115,18.85,26.615), (18.35,26.115,18.85,26.615), (-7.38,27.135,18.92,30.765), (-6.43,27.255,17.97,27.755), (-6.96,28.295,-6.46,28.795), (-6.96,28.295,-6.46,28.795), (-5.4,28.295,-4.9,28.795), (-5.4,28.295,-4.9,28.795), (-3.84,28.295,-3.34,28.795), (-3.84,28.295,-3.34,28.795), (-2.28,28.295,-1.78,28.795), (-2.28,28.295,-1.78,28.795), (-0.72,28.295,-0.22,28.795), (-0.72,28.295,-0.22,28.795), (0.84,28.295,1.34,28.795), (0.84,28.295,1.34,28.795), (2.4,28.295,2.9,28.795), (2.4,28.295,2.9,28.795), (3.96,28.295,4.46,28.795), (3.96,28.295,4.46,28.795), (5.52,28.295,6.02,28.795), (5.52,28.295,6.02,28.795), (7.08,28.295,7.58,28.795), (7.08,28.295,7.58,28.795), (8.64,28.295,9.14,28.795), (8.64,28.295,9.14,28.795), (10.2,28.295,10.7,28.795), (10.2,28.295,10.7,28.795), (11.76,28.295,12.26,28.795), (11.76,28.295,12.26,28.795), (13.32,28.295,13.82,28.795), (13.32,28.295,13.82,28.795), (14.88,28.295,15.38,28.795), (14.88,28.295,15.38,28.795), (16.44,28.295,16.94,28.795), (16.44,28.295,16.94,28.795), (18,28.295,18.5,28.795), (18,28.295,18.5,28.795), (-6.96,29.345,18.5,29.845), (-6.96,30.145,18.5,30.645), (-7.38,30.765,18.92,31.055), (-8.5,31.055,-8,31.555), (-8.5,31.055,-8,31.555), (-8.5,31.055,-8.09,31.555), (-8.09,31.055,19.63,31.555), (19.54,31.055,20.04,31.555), (19.54,31.055,20.04,31.555), (19.63,31.055,20.04,31.555)])
R(spike_amp_fp, via2, [(1.82,-3.325,2.08,-3.065), (6.32,-3.325,6.58,-3.065), (10.14,-1.575,10.4,-1.315), (9.54,0.515,9.8,0.775), (10.74,1.315,11,1.575), (0.54,2.265,0.8,2.525), (5.04,2.265,5.3,2.525), (3.1,3.065,3.36,3.325), (7.6,3.065,7.86,3.325), (-2.63,8.005,-2.37,8.265), (13.91,8.955,14.17,9.215), (-2.63,13.525,-2.37,13.785), (-7.94,18.405,-7.68,18.665), (4.67,23.345,4.93,23.605), (15.17,23.345,15.43,23.605), (-3.89,24.145,-3.63,24.405), (6.61,24.145,6.87,24.405), (0.39,26.235,0.65,26.495), (10.89,26.235,11.15,26.495)])
R(spike_amp_fp, via3, [(1.82,-16.625,2.08,-16.365), (6.32,-15.825,6.58,-15.565), (10.14,-15.025,10.4,-14.765), (0.54,14.765,0.8,15.025), (5.04,14.765,5.3,15.025), (10.74,14.765,11,15.025), (-2.63,15.565,-2.37,15.825), (9.54,15.565,9.8,15.825), (-10.83,16.365,-10.57,16.625), (3.1,16.365,3.36,16.625), (4.67,16.365,4.93,16.625), (7.6,16.365,7.86,16.625), (15.17,16.365,15.43,16.625), (-7.94,17.165,-7.68,17.425), (-3.89,17.165,-3.63,17.425), (6.61,17.165,6.87,17.425), (13.91,17.165,14.17,17.425), (-10.83,32.415,-10.57,32.675), (0.39,32.415,0.65,32.675), (10.89,32.415,11.15,32.675)])
R(spike_amp_fp, metal3, [(1.7,-16.745,2.2,-16.245), (1.7,-16.745,2.2,-2.945), (6.2,-15.945,6.7,-15.445), (6.2,-15.945,6.7,-2.945), (10.02,-15.145,10.52,-14.645), (10.02,-15.145,10.52,-1.195), (1.7,-3.445,2.2,-2.945), (6.2,-3.445,6.7,-2.945), (10.02,-1.695,10.52,-1.195), (9.42,0.395,9.92,0.895), (9.42,0.395,9.92,15.945), (10.62,1.195,11.12,1.695), (10.62,1.195,11.12,15.145), (0.42,2.145,0.92,2.645), (0.42,2.145,0.92,15.145), (4.92,2.145,5.42,2.645), (4.92,2.145,5.42,15.145), (2.98,2.945,3.48,3.445), (2.98,2.945,3.48,16.745), (7.48,2.945,7.98,3.445), (7.48,2.945,7.98,16.745), (-2.75,7.885,-2.25,8.385), (-2.75,7.885,-2.25,15.945), (13.79,8.835,14.29,9.335), (13.79,8.835,14.29,17.545), (-2.75,13.405,-2.25,13.905), (0.42,14.645,0.92,15.145), (4.92,14.645,5.42,15.145), (10.62,14.645,11.12,15.145), (-2.75,15.445,-2.25,15.945), (9.42,15.445,9.92,15.945), (-10.95,16.245,-10.45,16.745), (-10.95,16.245,-10.45,32.795), (2.98,16.245,3.48,16.745), (4.55,16.245,5.05,16.745), (4.55,16.245,5.05,23.725), (7.48,16.245,7.98,16.745), (15.05,16.245,15.55,16.745), (15.05,16.245,15.55,23.725), (-8.06,17.045,-7.56,18.785), (-8.06,17.045,-7.56,17.545), (-4.01,17.045,-3.51,17.545), (-4.01,17.045,-3.51,24.525), (6.49,17.045,6.99,17.545), (6.49,17.045,6.99,24.525), (13.79,17.045,14.29,17.545), (-8.06,18.285,-7.56,18.785), (4.55,23.225,5.05,23.725), (15.05,23.225,15.55,23.725), (-4.01,24.025,-3.51,24.525), (6.49,24.025,6.99,24.525), (0.27,26.115,0.77,26.615), (0.27,26.115,0.77,32.795), (10.77,26.115,11.27,26.615), (10.77,26.115,11.27,32.795), (-10.95,32.295,-10.45,32.795), (0.27,32.295,0.77,32.795), (10.77,32.295,11.27,32.795)])
R(spike_amp_fp, metal4, [(-12.35,-16.745,2.2,-16.245), (1.7,-16.745,2.2,-16.245), (-12.35,-15.945,6.7,-15.445), (6.2,-15.945,6.7,-15.445), (-12.35,-15.145,10.52,-14.645), (10.02,-15.145,10.52,-14.645), (0.42,14.645,0.92,15.145), (0.42,14.645,11.12,15.145), (4.92,14.645,5.42,15.145), (10.62,14.645,11.12,15.145), (-2.75,15.445,-2.25,15.945), (-2.75,15.445,9.92,15.945), (9.42,15.445,9.92,15.945), (-10.95,16.245,-10.45,16.745), (-10.95,16.245,5.05,16.745), (2.98,16.245,3.48,16.745), (4.55,16.245,5.05,16.745), (7.48,16.245,7.98,16.745), (7.48,16.245,15.55,16.745), (15.05,16.245,15.55,16.745), (-8.06,17.045,-7.56,17.545), (-8.06,17.045,14.29,17.545), (-4.01,17.045,-3.51,17.545), (6.49,17.045,6.99,17.545), (13.79,17.045,14.29,17.545), (-10.95,32.295,-10.45,32.795), (-10.95,32.295,11.27,32.795), (0.27,32.295,0.77,32.795), (10.77,32.295,11.27,32.795)])
R(spike_amp_fp, lvpwell, [(-4.18,-8.475,15.72,8.475), (-2.7,-7.595,14.24,-3.965), (-3.3,-3.565,-0.4,3.565), (0,-3.565,3.9,3.565), (4.5,-3.565,8.4,3.565), (11.94,-3.565,14.84,3.565), (9,-1.815,11.54,1.815), (-2.7,3.965,14.24,7.595)])
spike_amp_fp.add(gdstk.Label('VP', (-12,-16.495), layer=46, texttype=10))
spike_amp_fp.add(gdstk.Label('VN', (-12,-15.695), layer=46, texttype=10))
spike_amp_fp.add(gdstk.Label('VB', (-12,-14.895), layer=46, texttype=10))
spike_amp_fp.add(gdstk.Label('spike_out', (7.83,16.495), layer=46, texttype=10))
spike_amp_fp.add(gdstk.Label('VSS', (5.77,-13.655), layer=36, texttype=10))
spike_amp_fp.add(gdstk.Label('VDD', (5.77,31.305), layer=36, texttype=10))

lib.write_gds('spike_amp_fp.gds')
